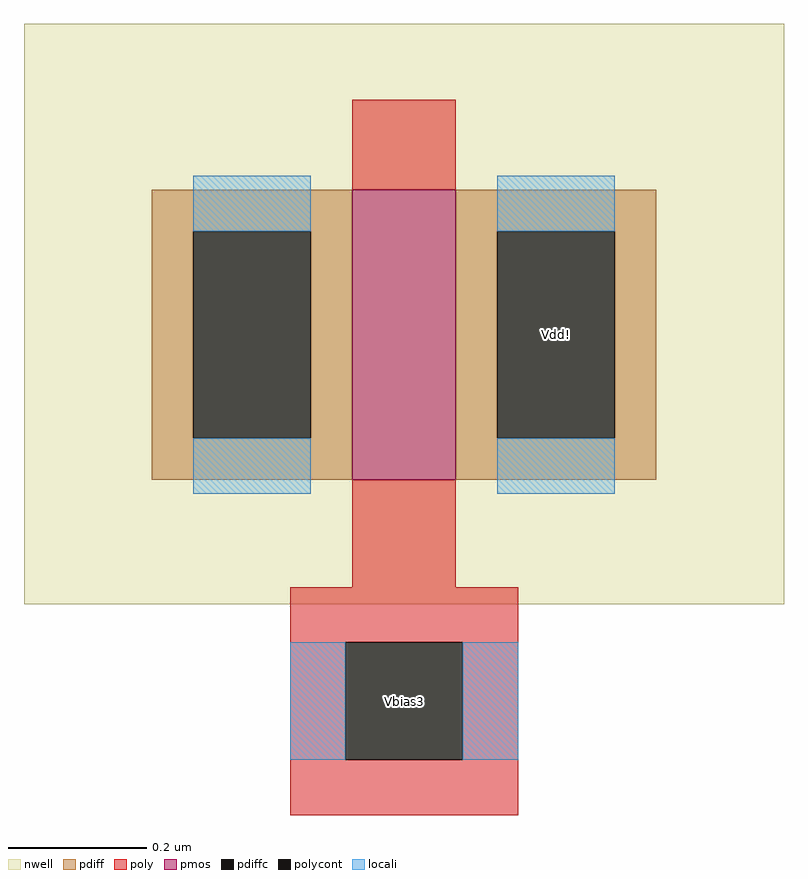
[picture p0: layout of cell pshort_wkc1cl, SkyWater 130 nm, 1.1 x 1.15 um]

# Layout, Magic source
magic
tech sky130A
magscale 1 2
<< nwell >>
rect -110 -42 110 126
<< pmos >>
rect -15 -6 15 78
<< pdiff >>
rect -73 66 -15 78
rect -73 6 -61 66
rect -27 6 -15 66
rect -73 -6 -15 6
rect 15 66 73 78
rect 15 6 27 66
rect 61 6 73 66
rect 15 -6 73 6
<< pdiffc >>
rect -61 6 -27 66
rect 27 6 61 66
<< poly >>
rect -15 78 15 104
rect -15 -37 15 -6
rect -33 -53 33 -37
rect -33 -87 -17 -53
rect 17 -87 33 -53
rect -33 -103 33 -87
<< polycont >>
rect -17 -87 17 -53
<< locali >>
rect -61 66 -27 82
rect -61 -10 -27 6
rect 27 66 61 82
rect 27 -10 61 6
rect -33 -87 -17 -53
rect 17 -87 33 -53
<< labels >>
rlabel polycont -17 -87 17 -53 1 Vbias3
rlabel pdiffc 27 6 61 66 1 Vdd!
<< properties >>
string gencell pshort
string parameters w 0.42 l 0.15 m 1 nf 1 diffcov 100 polycov 100 guard 0 glc 1 grc 1 gtc 1 gbc 1 tbcov 100 rlcov 100 topc 0 botc 1 poverlap 0 doverlap 1 lmin 0.15 wmin 0.42 compatible {pshort plowvt phighvt phv} full_metal 1
string library sky130
<< end >>
